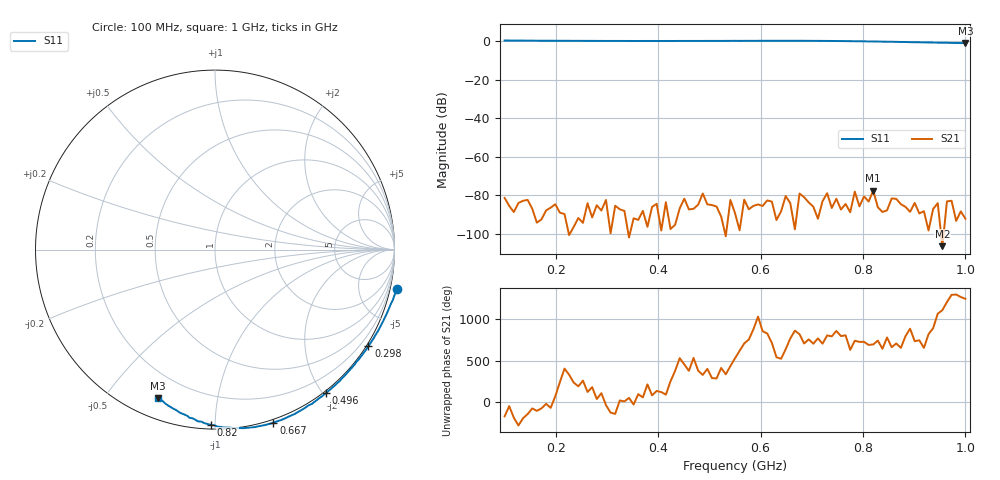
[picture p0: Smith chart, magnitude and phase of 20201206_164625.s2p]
# HZ S RI R 50
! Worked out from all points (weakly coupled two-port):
!   101 points, 100 MHz to 1 GHz, reference 50 ohm
!   highest |S21| = -77.52 dB at 820 MHz (marker M1); lowest = -106.4 dB at 955 MHz (marker M2)
!   lowest |S11| = -1.0 dB at 1 GHz (marker M3), VSWR 16.69, Z = 4.4 - j34.2 ohm
!   |S11| at or under -10 dB: nowhere
!   S12 and S22 are empty: the file has one direction only
!   S11 on the Smith chart (normalised r, x): 100 MHz: -1.62, -9.08; 298 MHz: -0.06, -3.47; 496 MHz: -0.03, -2.04; 667 MHz: -0.03, -1.39; 820 MHz: 0.02, -0.98; 1 GHz: 0.09, -0.68
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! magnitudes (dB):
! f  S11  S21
! 100 MHz  0.3  -81.3
! 253 MHz  0.1  -94.3
! 298 MHz  0.1  -82.4
! 406 MHz  0.1  -98.2
! 478 MHz  0.1  -84.9
! 487 MHz  0.1  -79.0
! 496 MHz  0.1  -84.7
! 550 MHz  0.1  -89.2
! 667 MHz  0.2  -97.6
! 676 MHz  0.1  -79.1
! 703 MHz  0.1  -85.9
! 730 MHz  0.1  -78.9
! 739 MHz  0.1  -86.5
! 775 MHz  0.0  -88.8
! 784 MHz  -0.1  -78.1
! 793 MHz  -0.1  -85.7
! 811 MHz  -0.2  -83.2
! 820 MHz  -0.2  -77.5
! 829 MHz  -0.2  -86.2
! 856 MHz  -0.3  -81.6
! 955 MHz  -0.8  -106.4
! 1 GHz  -1.0  -92.1
